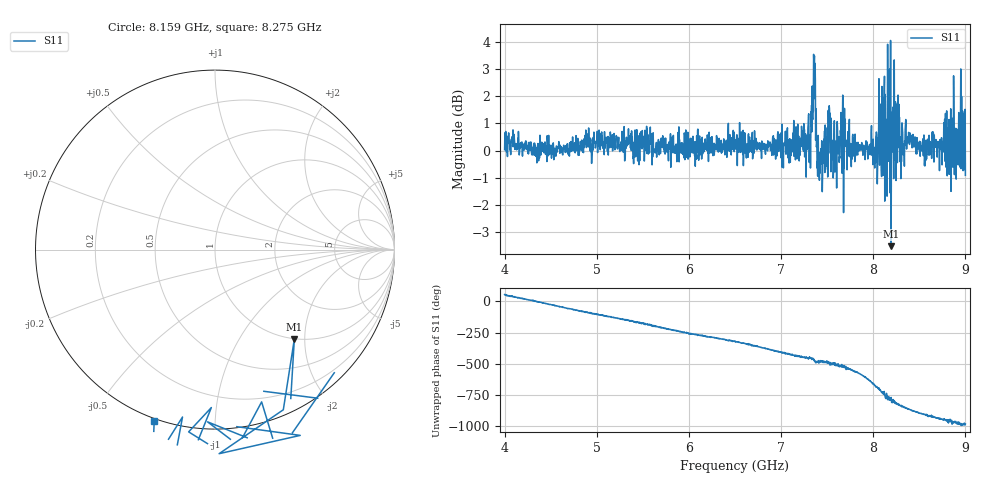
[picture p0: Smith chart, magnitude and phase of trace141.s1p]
! Created with skrf 1.8.0 (http://scikit-rf.org).
# Hz S RI R 50.0
!freq ReS11 ImS11
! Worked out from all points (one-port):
!   1601 points, 4 GHz to 9 GHz, reference 50 ohm
!   lowest |S11| = -3.5 dB at 8.194 GHz (marker M1), VSWR 4.99, Z = 49.8 - j89.1 ohm
!   |S11| at or under -10 dB: nowhere
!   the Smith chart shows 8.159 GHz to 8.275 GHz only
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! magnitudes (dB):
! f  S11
! 4 GHz  0.0
! 4.625 GHz  -0.1
! 5.25 GHz  0.0
! 5.875 GHz  0.1
! 6.5 GHz  0.1
! 7.125 GHz  0.3
! 7.297 GHz  1.3
! 7.356 GHz  3.2
! 7.378 GHz  1.2
! 7.4 GHz  0.1
! 7.431 GHz  0.1
! 7.509 GHz  -0.8
! 7.578 GHz  1.1
! 7.669 GHz  2.0
! 7.75 GHz  0.2
! 8.022 GHz  -0.2
! 8.097 GHz  1.2
! 8.128 GHz  2.1
! 8.153 GHz  0.6
! 8.194 GHz  -3.5
! 8.253 GHz  0.7
! 8.316 GHz  0.8
! 8.375 GHz  0.5
! 8.556 GHz  -0.6
! 8.806 GHz  0.7
! 8.953 GHz  -0.7
! 8.972 GHz  0.7
! 9 GHz  -0.9
